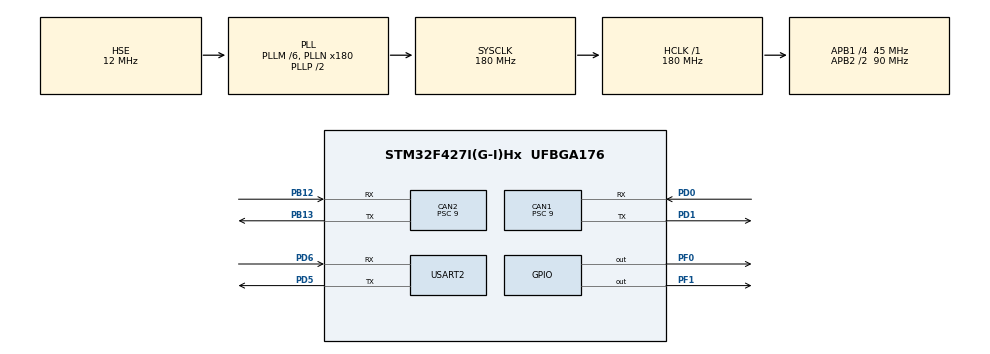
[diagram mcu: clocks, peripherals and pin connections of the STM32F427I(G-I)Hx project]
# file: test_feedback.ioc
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CAN1.ABOM=ENABLE
CAN1.BS1=CAN_BS1_2TQ
CAN1.BS2=CAN_BS2_2TQ
CAN1.CalculateBaudRate=1000000
CAN1.CalculateTimeBit=1000
CAN1.CalculateTimeQuantum=200.0
CAN1.Prescaler=9
CAN2.BS1=CAN_BS1_2TQ
CAN2.BS2=CAN_BS2_2TQ
CAN2.CalculateBaudRate=1000000
CAN2.CalculateTimeBit=1000
CAN2.CalculateTimeQuantum=200.0
CAN2.Prescaler=9
Dma.Request0=USART2_RX
Dma.Request1=USART2_TX
Dma.USART2_RX.0.Direction=DMA_PERIPH_TO_MEMORY
Dma.USART2_RX.0.FIFOMode=DMA_FIFOMODE_DISABLE
Dma.USART2_RX.0.Instance=DMA1_Stream5
Dma.USART2_RX.0.MemDataAlignment=DMA_MDATAALIGN_BYTE
Dma.USART2_RX.0.MemInc=DMA_MINC_ENABLE
Dma.USART2_RX.0.Mode=DMA_NORMAL
Dma.USART2_RX.0.PeriphDataAlignment=DMA_PDATAALIGN_BYTE
Dma.USART2_RX.0.PeriphInc=DMA_PINC_DISABLE
Dma.USART2_RX.0.Priority=DMA_PRIORITY_LOW
Dma.USART2_TX.1.Direction=DMA_MEMORY_TO_PERIPH
Dma.USART2_TX.1.FIFOMode=DMA_FIFOMODE_DISABLE
Dma.USART2_TX.1.Instance=DMA1_Stream6
Dma.USART2_TX.1.MemDataAlignment=DMA_MDATAALIGN_BYTE
Dma.USART2_TX.1.MemInc=DMA_MINC_ENABLE
Dma.USART2_TX.1.Mode=DMA_NORMAL
Dma.USART2_TX.1.PeriphDataAlignment=DMA_PDATAALIGN_BYTE
Dma.USART2_TX.1.PeriphInc=DMA_PINC_DISABLE
Dma.USART2_TX.1.Priority=DMA_PRIORITY_LOW
Mcu.Family=STM32F4
Mcu.Name=STM32F427I(G-I)Hx
Mcu.Package=UFBGA176
NVIC.CAN1_RX0_IRQn=true\:0\:0\:false\:false\:true\:true\:true
NVIC.CAN1_RX1_IRQn=true\:0\:0\:false\:false\:true\:true\:true
NVIC.DMA1_Stream5_IRQn=true\:0\:0\:false\:false\:true\:false\:true
NVIC.DMA1_Stream6_IRQn=true\:0\:0\:false\:false\:true\:false\:true
NVIC.PriorityGroup=NVIC_PRIORITYGROUP_4
NVIC.USART2_IRQn=true\:0\:0\:false\:false\:true\:true\:true
PA13.Mode=Serial_Wire
PA13.Signal=SYS_JTMS-SWDIO
PA14.Mode=Serial_Wire
PA14.Signal=SYS_JTCK-SWCLK
PB12.Mode=CAN_Activate
PB12.Signal=CAN2_RX
PB13.Mode=CAN_Activate
PB13.Signal=CAN2_TX
PD0.Mode=CAN_Activate
PD0.Signal=CAN1_RX
PD1.Mode=CAN_Activate
PD1.Signal=CAN1_TX
PD5.Mode=Asynchronous
PD5.Signal=USART2_TX
PD6.Mode=Asynchronous
PD6.Signal=USART2_RX
PF0.Signal=GPIO_Output
PF1.Signal=GPIO_Output
PH0/OSC_IN.Mode=HSE-External-Oscillator
PH0/OSC_IN.Signal=RCC_OSC_IN
PH1/OSC_OUT.Mode=HSE-External-Oscillator
PH1/OSC_OUT.Signal=RCC_OSC_OUT
ProjectManager.HeapSize=0x200
ProjectManager.StackSize=0x400
ProjectManager.TargetToolchain=MDK-ARM V5.32
RCC.48MHZClocksFreq_Value=90000000
RCC.AHBFreq_Value=180000000
RCC.APB1CLKDivider=RCC_HCLK_DIV4
RCC.APB1Freq_Value=45000000
RCC.APB1TimFreq_Value=90000000
RCC.APB2CLKDivider=RCC_HCLK_DIV2
RCC.APB2Freq_Value=90000000
RCC.APB2TimFreq_Value=180000000
RCC.CortexFreq_Value=180000000
RCC.HCLKFreq_Value=180000000
RCC.HSE_VALUE=12000000
RCC.HSI_VALUE=16000000
RCC.LSE_VALUE=32768
RCC.PLLM=6
RCC.PLLN=180
RCC.PLLSourceVirtual=RCC_PLLSOURCE_HSE
RCC.SYSCLKFreq_VALUE=180000000
RCC.SYSCLKSource=RCC_SYSCLKSOURCE_PLLCLK
RCC.VCOOutputFreq_Value=360000000
USART2.VirtualMode=VM_ASYNC
board=custom

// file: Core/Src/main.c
/* USER CODE BEGIN Header */
/**
 ******************************************************************************
 * @file           : main.c
 * @brief          : Main program body
 ******************************************************************************
 * @attention
 *
 * Copyright (c) 2023 STMicroelectronics.
 * All rights reserved.
 *
 * This software is licensed under terms that can be found in the LICENSE file
 * in the root directory of this software component.
 * If no LICENSE file comes with this software, it is provided AS-IS.
 *
 ******************************************************************************
 */
/* USER CODE END Header */
#include "main.h"
#include "can.h"
#include "dma.h"
#include "usart.h"
#include "gpio.h"

/* USER CODE BEGIN Includes */

#include "drv_bsp.h"

#include "dvc_serialplot.h"
#include "dvc_motor.h"

/* USER CODE END Includes */

/* USER CODE BEGIN PV */

Class_Serialplot serialplot;
Class_Motor_C610 motor1;
Class_Motor_C610 motor2;
Class_Motor_C620 motor3;

float Target_Angle, Now_Angle, Target_Omega, Now_Omega;

<<<<<<< HEAD
// uint32_t Counter = 0;

//气缸延时
const int push=5000;
const int pull=5000;
const int gap=1000;
=======
uint32_t Counter = 0;

// //气缸延时
// const int push=1000;
// const int pull=1000;
// const int gap=1000;

// 非阻塞式气缸控制变量
typedef enum {
    BALL_STATE_IDLE,                     // 空闲状态
    BALL_STATE_PUSHING,                  // 气缸向下推开始（置高电平）
    BALL_STATE_WAITING_FOR_GRIPPER_OPEN, // 等待20ms后夹爪张开90度
    BALL_STATE_PUSHING_HOLD,             // 继续保持高电平直到130ms
    BALL_STATE_PULLING,                  // 气缸往回拉（置低电平）
    BALL_STATE_WAITING_FOR_GRIPPER_CLOSE // 等待450ms后夹爪关闭
} Ball_State_t;

Ball_State_t ball_state = BALL_STATE_IDLE;
uint32_t ball_action_start_time = 0;  // 动作开始时间戳
const uint32_t GRIPPER_OPEN_DELAY_MS = 25;   // 置高电平后25ms张开夹爪
const uint32_t PUSH_TOTAL_DURATION_MS = 130;  // 高电平保持总时间130ms
const uint32_t GRIPPER_CLOSE_DELAY_MS = 350; // 拉回后350ms关闭夹爪（打满气情况下）
>>>>>>> 1edc67784f2830cb14053f9af588562884439518

// 电机角度控制变量
float Motor2006_Control_Command = 0.0f;  // 0=转到0度，1=转到90度
float Motor3508_Control_Command = 0.0f;  // 0=转到0度，1=转到180度
float Ball_Control_Command = 0.0f;  // 0=气缸向上拉夹爪平放，1=气缸向下推夹爪张开

static char Variable_Assignment_List[][SERIALPLOT_RX_VARIABLE_ASSIGNMENT_MAX_LENGTH] = {
    //电机调PID
    "pa",
    "ia",
    "da",
    "po",
    "io",
    "do",
    // 2006电机角度控制
    "cmd1",  // 控制命令0=转到0度，1=转到90度
    // 3508电机角度控制
    "cmd2", // 控制命令0=转到0度，1=转到180度
    // 电机及气缸同步控制
    "cmd3", // 控制命令0=夹爪平放，1=夹爪张开气缸向下推后向上拉
};

/* USER CODE END PV */

void SystemClock_Config(void);

/* USER CODE BEGIN 0 */

/**
 * @brief 控制2006电机相对当前位置旋转90°（夹爪张开）
 * @param
 */
void Motor2006_Rotate_90_Degree() {

  // 设置目标角度
<<<<<<< HEAD
  motor1.Set_Target_Angle(18.0f * PI);
  motor2.Set_Target_Angle(18.0f * PI);
=======
  motor1.Set_Target_Angle(17.0f * PI);
  motor2.Set_Target_Angle(17.0f * PI);
>>>>>>> 1edc67784f2830cb14053f9af588562884439518
}

/**
 * @brief 控制2006电机相对当前位置旋转0°（夹爪平放）
 * @param
 */
void Motor2006_Rotate_0_Degree() {

  // 设置目标角度
  motor1.Set_Target_Angle(0.0f);
  motor2.Set_Target_Angle(0.0f);
}

/**
 * @brief 控制3508电机相对当前位置旋转180°（旋转至运球点）
 * @param
 */
void Motor3508_Rotate_180_Degree() {

  // 设置目标角度
  motor3.Set_Target_Angle(47.0f * PI);
}

/**
 * @brief 控制3508电机相对当前位置旋转0°（旋转至初始位置）
 * @param
 */
void Motor3508_Rotate_0_Degree() {

  // 设置目标角度
  motor3.Set_Target_Angle(0.0f);
}

/**
 * @brief 控制气缸向上拉
 * @param
 */
<<<<<<< HEAD
void ballpull( )
{
	 HAL_GPIO_WritePin(GPIOF,GPIO_PIN_0,GPIO_PIN_SET);
	 HAL_Delay(push);
=======
void ballpull()
{
	 HAL_GPIO_WritePin(GPIOF,GPIO_PIN_0,GPIO_PIN_RESET);
	//  HAL_Delay(push);
>>>>>>> 1edc67784f2830cb14053f9af588562884439518
}

/**
 * @brief 控制气缸向下推
 * @param
 */
void ballpush()
{
<<<<<<< HEAD
	HAL_GPIO_WritePin(GPIOF,GPIO_PIN_0,GPIO_PIN_RESET);
	HAL_Delay(pull);
}

/**
 * @brief 控制气缸暂停
 * @param
 */
void ballgap()
{
	HAL_Delay(gap);
=======
	HAL_GPIO_WritePin(GPIOF,GPIO_PIN_0,GPIO_PIN_SET);
	// HAL_Delay(pull);
}

// /**
//  * @brief 控制气缸暂停
//  * @param
//  */
// void ballgap()
// {
// 	HAL_Delay(gap);
// }

/**
 * @brief 非阻塞式气缸控制处理函数
 * @param 需要在主循环中持续调用
 */
void Ball_Control_Process()
{
    switch(ball_state)
    {
        case BALL_STATE_IDLE:
            // 空闲状态，等待触发
            break;

        case BALL_STATE_PUSHING:
            // 气缸向下推
            ballpush();
            ball_action_start_time = HAL_GetTick();  // 记录开始时间
            ball_state = BALL_STATE_WAITING_FOR_GRIPPER_OPEN;  // 进入等待夹爪张开状态
            break;

        case BALL_STATE_WAITING_FOR_GRIPPER_OPEN:
            // 等待20ms后夹爪张开90度
            ballpush();
            if(HAL_GetTick() - ball_action_start_time >= GRIPPER_OPEN_DELAY_MS)
            {
                Motor2006_Rotate_90_Degree(); // 夹爪张开90度
                ball_state = BALL_STATE_PUSHING_HOLD;  // 进入保持推动状态
            }
            break;

        case BALL_STATE_PUSHING_HOLD:
            // 继续保持高电平直到总共100ms
            ballpush();
            if(HAL_GetTick() - ball_action_start_time >= PUSH_TOTAL_DURATION_MS)
            {
                ball_state = BALL_STATE_PULLING;  // 100ms后进入拉回状态
            }
            break;

        case BALL_STATE_PULLING:
            // 气缸往回拉，置低电平
            ballpull();     // 设置低电平拉回
            ball_action_start_time = HAL_GetTick();  // 重新记录时间
            ball_state = BALL_STATE_WAITING_FOR_GRIPPER_CLOSE;  // 进入等待夹爪关闭状态
            break;

        case BALL_STATE_WAITING_FOR_GRIPPER_CLOSE:
            // 等待450ms后夹爪关闭到0度
            if(HAL_GetTick() - ball_action_start_time >= GRIPPER_CLOSE_DELAY_MS)
            {
                Motor2006_Rotate_0_Degree();  // 夹爪转回0度平放
                Motor2006_Control_Command = 0.0f;  // 更新控制命令
                Ball_Control_Command = 0.0f;  // 更新控制命令
                ball_state = BALL_STATE_IDLE; // 动作完成，回到空闲状态
            }
            break;
    }
}

/**
 * @brief 启动非阻塞式推拉球操作
 * @param 替代原来的阻塞式ballpush+延时+ballpull操作
 */
void Start_Ball_Push_Pull()
{
    if(ball_state == BALL_STATE_IDLE)
    {
        ball_state = BALL_STATE_PUSHING;  // 启动推拉球序列
    }
>>>>>>> 1edc67784f2830cb14053f9af588562884439518
}

/**
 * @brief CAN报文回调函数
 *
 * @param Rx_Buffer CAN接收的信息结构体
 */
void CAN_Motor_Call_Back(Struct_CAN_Rx_Buffer *Rx_Buffer)
{
    switch (Rx_Buffer->Header.StdId)
    {
        // 3508电机
        case (0x205):
        {
            motor3.CAN_RxCpltCallback(Rx_Buffer->Data);
        }
        break;
        // 2006电机
        case (0x206):
        {
            motor1.CAN_RxCpltCallback(Rx_Buffer->Data);
        }
        break;
        case (0x207):
        {
            motor2.CAN_RxCpltCallback(Rx_Buffer->Data);
        }
        break;
    }
}

/**
 * @brief HAL库UART接收DMA空闲中断
 *
 * @param huart UART编号
 * @param Size 长度
 */
void UART_Serialplot_Call_Back(uint8_t *Buffer, uint16_t Length)
{
    serialplot.UART_RxCpltCallback(Buffer);
    switch (serialplot.Get_Variable_Index())
    {
        // 电机调PID
        case(0):
        {
            motor1.PID_Angle.Set_K_P(serialplot.Get_Variable_Value());
            motor2.PID_Angle.Set_K_P(serialplot.Get_Variable_Value());
            motor3.PID_Angle.Set_K_P(serialplot.Get_Variable_Value());
        }
        break;
        case(1):
        {
            motor1.PID_Angle.Set_K_I(serialplot.Get_Variable_Value());
            motor2.PID_Angle.Set_K_I(serialplot.Get_Variable_Value());
            motor3.PID_Angle.Set_K_I(serialplot.Get_Variable_Value());
        }
        break;
        case(2):
        {
            motor1.PID_Angle.Set_K_D(serialplot.Get_Variable_Value());
            motor2.PID_Angle.Set_K_D(serialplot.Get_Variable_Value());
            motor3.PID_Angle.Set_K_D(serialplot.Get_Variable_Value());
        }
        break;
        case(3):
        {
            motor1.PID_Omega.Set_K_P(serialplot.Get_Variable_Value());
            motor2.PID_Omega.Set_K_P(serialplot.Get_Variable_Value());
            motor3.PID_Omega.Set_K_P(serialplot.Get_Variable_Value());
        }
        break;
        case(4):
        {
            motor1.PID_Omega.Set_K_I(serialplot.Get_Variable_Value());
            motor2.PID_Omega.Set_K_I(serialplot.Get_Variable_Value());
            motor3.PID_Omega.Set_K_I(serialplot.Get_Variable_Value());
        }
        break;
        case(5):
        {
            motor1.PID_Omega.Set_K_D(serialplot.Get_Variable_Value());
            motor2.PID_Omega.Set_K_D(serialplot.Get_Variable_Value());
            motor3.PID_Omega.Set_K_D(serialplot.Get_Variable_Value());
        }
        break;
        // 电机角度控制命令
        case(6):
        {
            Motor2006_Control_Command = serialplot.Get_Variable_Value();
            // 根据命令值控制电机角度
          if (Motor2006_Control_Command < 0.5f) {
              Motor2006_Rotate_0_Degree();  // 转到0度
<<<<<<< HEAD
			        ballpull();

          } else {
              Motor2006_Rotate_90_Degree(); // 转到90度
			        ballpush();
        }
=======
          } else {
              Motor2006_Rotate_90_Degree(); // 转到90度
            }
>>>>>>> 1edc67784f2830cb14053f9af588562884439518
        }
        break;
        case(7):
        {
            Motor3508_Control_Command = serialplot.Get_Variable_Value();
            // 根据命令值控制电机角度
          if (Motor3508_Control_Command < 0.5f) {
<<<<<<< HEAD
              Motor3508_Rotate_0_Degree();  // 转到0度
          } else {
=======
              Motor3508_Control_Command = 0.0f;   //防止命令冲突
              Motor3508_Rotate_0_Degree();  // 转到0度
          } else {
              Motor3508_Control_Command = 1.0f;   //防止命令冲突
>>>>>>> 1edc67784f2830cb14053f9af588562884439518
              Motor3508_Rotate_180_Degree(); // 转到180度
          }
        }
        break;
        case(8):
        {
            Ball_Control_Command = serialplot.Get_Variable_Value();
            if (Ball_Control_Command < 0.5f) {
<<<<<<< HEAD
              Motor2006_Rotate_0_Degree();  // 转到0度
            } else {
              Motor2006_Rotate_90_Degree(); // 转到90度
              HAL_Delay(10);
			        ballpush();                 // 气缸向下推
              ballpull();                   // 气缸向上拉
=======
              Motor2006_Control_Command = 0.0f;   //防止命令冲突
              Motor2006_Rotate_0_Degree();  // 转到0度
            } else {
              Motor2006_Control_Command = 1.0f;
              // 使用非阻塞式气缸和夹爪控制序列
              // 状态机会自动处理：气缸推下->20ms->夹爪90度->气缸拉回->350ms->夹爪0度
              Start_Ball_Push_Pull();     // 启动推拉球序列
>>>>>>> 1edc67784f2830cb14053f9af588562884439518
            }
        }
        break;
      }
}

<<<<<<< HEAD
=======
// /**
//  * @brief 蓝牙控制回调函数
//  * @param Buffer 接收到的数据缓冲区
//  * @param Length 数据长度
//  */
// void UART_Bluetooth_Call_Back(uint8_t *Buffer, uint16_t Length)
// {
//     if(Length > 0)
//     {
//         switch(Buffer[0])
//         {
//             case '0':
//                 // 回到初始位置
//                 Motor2006_Rotate_0_Degree();
//                 Motor2006_Control_Command = 0;
//                 break;

//             case '1':
//                 // 执行抓球动作
//                 Motor2006_Rotate_90_Degree();
//                 Motor2006_Control_Command = 1;
//                 Start_Ball_Push_Pull();  // 启动非阻塞式推拉球序列
//                 break;

//             default:
//                 // 未知命令，不执行任何操作
//                 break;
//         }
//     }
// }

>>>>>>> 1edc67784f2830cb14053f9af588562884439518
/* USER CODE END 0 */

int main(void)
{

  /* MCU Configuration--------------------------------------------------------*/

  /* Reset of all peripherals, Initializes the Flash interface and the Systick. */
  HAL_Init();

  /* Configure the system clock */
  SystemClock_Config();

  /* Initialize all configured peripherals */
  MX_GPIO_Init();
  MX_DMA_Init();
  MX_CAN1_Init();
  MX_CAN2_Init();
  MX_USART2_UART_Init();
  /* USER CODE BEGIN 2 */
<<<<<<< HEAD
	  HAL_GPIO_WritePin(GPIOF,GPIO_PIN_0,GPIO_PIN_SET);
=======
	  HAL_GPIO_WritePin(GPIOF,GPIO_PIN_0,GPIO_PIN_RESET);
>>>>>>> 1edc67784f2830cb14053f9af588562884439518
	  HAL_GPIO_WritePin(GPIOF,GPIO_PIN_1,GPIO_PIN_SET);
    BSP_Init(BSP_DC24_LU_ON | BSP_DC24_LD_ON | BSP_DC24_RU_ON | BSP_DC24_RD_ON);
    CAN_Init(&hcan1, CAN_Motor_Call_Back);
    UART_Init(&huart2, UART_Serialplot_Call_Back, SERIALPLOT_RX_VARIABLE_ASSIGNMENT_MAX_LENGTH);

    serialplot.Init(&huart2, 9, (char **)Variable_Assignment_List);

<<<<<<< HEAD
    motor1.PID_Angle.Init(15.0f, 0.0f, 0.0f, 0.0f, 100.0f * PI, 100.0f * PI);
    motor1.PID_Omega.Init(200.0f, 100.0f, 0.0f, 0.0f, 8000.0f, 8000.0f);
    motor1.Init(&hcan1, CAN_Motor_ID_0x206, Control_Method_ANGLE, 1.0f);

    motor2.PID_Angle.Init(15.0f, 0.0f, 0.0f, 0.0f, 100.0f * PI, 100.0f * PI);
    motor2.PID_Omega.Init(200.0f, 100.0f, 0.0f, 0.0f, 8000.0f, 8000.0f);
=======
    motor1.PID_Angle.Init(15.0f, 0.0f, 0.0f, 0.0f, 200.0f * PI, 200.0f * PI);
    motor1.PID_Omega.Init(200.0f, 100.0f, 0.0f, 0.0f, 9000.0f, 9000.0f);
    motor1.Init(&hcan1, CAN_Motor_ID_0x206, Control_Method_ANGLE, 1.0f);

    motor2.PID_Angle.Init(15.0f, 0.0f, 0.0f, 0.0f, 200.0f * PI, 200.0f * PI);
    motor2.PID_Omega.Init(200.0f, 100.0f, 0.0f, 0.0f, 9000.0f, 9000.0f);
>>>>>>> 1edc67784f2830cb14053f9af588562884439518
    motor2.Init(&hcan1, CAN_Motor_ID_0x207, Control_Method_ANGLE, 1.0f);

    motor3.PID_Angle.Init(15.0f, 0.0f, 0.0f, 0.0f, 30.0f * PI, 30.0f * PI);
    motor3.PID_Omega.Init(200.0f, 100.0f, 0.0f, 0.0f, 15000.0f, 15000.0f);
    motor3.Init(&hcan1, CAN_Motor_ID_0x205, Control_Method_ANGLE, 1.0f);

<<<<<<< HEAD

=======
>>>>>>> 1edc67784f2830cb14053f9af588562884439518
  /* USER CODE END 2 */

  /* Infinite loop */
  /* USER CODE BEGIN WHILE */
    while (1)
    {
<<<<<<< HEAD
      //测试电机是否能正常转动及定位置控制
=======
      // //测试电机是否能正常转动及定位置控制
>>>>>>> 1edc67784f2830cb14053f9af588562884439518
      // Counter++;
      //   if(Counter >= 4000)
      //   {
      //       Counter = 0;
<<<<<<< HEAD
      //       if(motor.Get_Target_Angle() == 18.0f * PI)		//电机转9圈，夹爪完全张合
      //       {
      //           // motor.Set_Target_Angle(0.0f);
      //           Motor_Rotate_0_Degree();
      //       }
      //       else if(motor.Get_Target_Angle() == 0.0f)
      //       {
      //           // motor.Set_Target_Angle(18.0f * PI);
      //           Motor_Rotate_90_Degree();
      //       }
      //   }

      // ballpush();
      // ballpull();
      // ballgap();

=======
      //       if(motor1.Get_Target_Angle() == 18.0f * PI)		//电机转9圈，夹爪完全张合
      //       {
      //           // motor.Set_Target_Angle(0.0f);
      //           Motor2006_Rotate_0_Degree();
      //       }
      //       else if(motor1.Get_Target_Angle() == 0.0f)
      //       {
      //           // motor.Set_Target_Angle(18.0f * PI);
      //           Motor2006_Rotate_90_Degree();
      //       }
      //   }

      //测试气缸能否正常工作
      // ballpush();
      // ballpull();
      // ballgap();
>>>>>>> 1edc67784f2830cb14053f9af588562884439518
		//串口绘图显示内容
        Target_Angle = motor1.Get_Target_Angle();
        Now_Angle = motor1.Get_Now_Angle();
        Target_Omega = motor1.Get_Target_Omega();
        Now_Omega = motor1.Get_Now_Omega();
        serialplot.Set_Data(7, &Target_Angle, &Now_Angle, &Target_Omega, &Now_Omega, &Motor2006_Control_Command, &Motor3508_Control_Command, &Ball_Control_Command);
        serialplot.TIM_Write_PeriodElapsedCallback();

        //CAN发送数据给电机
        motor1.TIM_PID_PeriodElapsedCallback();
        motor2.TIM_PID_PeriodElapsedCallback();
        motor3.TIM_PID_PeriodElapsedCallback();

        //通信设备回调数据
        TIM_CAN_PeriodElapsedCallback();
<<<<<<< HEAD
=======

        //非阻塞式气缸控制处理
        Ball_Control_Process();
>>>>>>> 1edc67784f2830cb14053f9af588562884439518

		//UART发送数据给上位机
        TIM_UART_PeriodElapsedCallback();

<<<<<<< HEAD
        //延时1ms
        HAL_Delay(0);
=======
        //延时1ms（避免过度频繁发送）
        HAL_Delay(1);
>>>>>>> 1edc67784f2830cb14053f9af588562884439518

    /* USER CODE END WHILE */

    }
}

void SystemClock_Config(void)
{
  RCC_OscInitTypeDef RCC_OscInitStruct = {0};
  RCC_ClkInitTypeDef RCC_ClkInitStruct = {0};

  /** Configure the main internal regulator output voltage
  */
  __HAL_RCC_PWR_CLK_ENABLE();
  __HAL_PWR_VOLTAGESCALING_CONFIG(PWR_REGULATOR_VOLTAGE_SCALE1);
  /** Initializes the RCC Oscillators according to the specified parameters
  * in the RCC_OscInitTypeDef structure.
  */
  RCC_OscInitStruct.OscillatorType = RCC_OSCILLATORTYPE_HSE;
  RCC_OscInitStruct.HSEState = RCC_HSE_ON;
  RCC_OscInitStruct.PLL.PLLState = RCC_PLL_ON;
  RCC_OscInitStruct.PLL.PLLSource = RCC_PLLSOURCE_HSE;
  RCC_OscInitStruct.PLL.PLLM = 6;
  RCC_OscInitStruct.PLL.PLLN = 180;
  RCC_OscInitStruct.PLL.PLLP = RCC_PLLP_DIV2;
  RCC_OscInitStruct.PLL.PLLQ = 4;
  if (HAL_RCC_OscConfig(&RCC_OscInitStruct) != HAL_OK)
  {
    Error_Handler();
  }
  /** Activate the Over-Drive mode
  */
  if (HAL_PWREx_EnableOverDrive() != HAL_OK)
  {
    Error_Handler();
  }
  /** Initializes the CPU, AHB and APB buses clocks
  */
  RCC_ClkInitStruct.ClockType = RCC_CLOCKTYPE_HCLK|RCC_CLOCKTYPE_SYSCLK
                              |RCC_CLOCKTYPE_PCLK1|RCC_CLOCKTYPE_PCLK2;
  RCC_ClkInitStruct.SYSCLKSource = RCC_SYSCLKSOURCE_PLLCLK;
  RCC_ClkInitStruct.AHBCLKDivider = RCC_SYSCLK_DIV1;
  RCC_ClkInitStruct.APB1CLKDivider = RCC_HCLK_DIV4;
  RCC_ClkInitStruct.APB2CLKDivider = RCC_HCLK_DIV2;

  if (HAL_RCC_ClockConfig(&RCC_ClkInitStruct, FLASH_LATENCY_5) != HAL_OK)
  {
    Error_Handler();
  }
}

void Error_Handler(void)
{
    __disable_irq();
    while (1)
    {
    }
}
